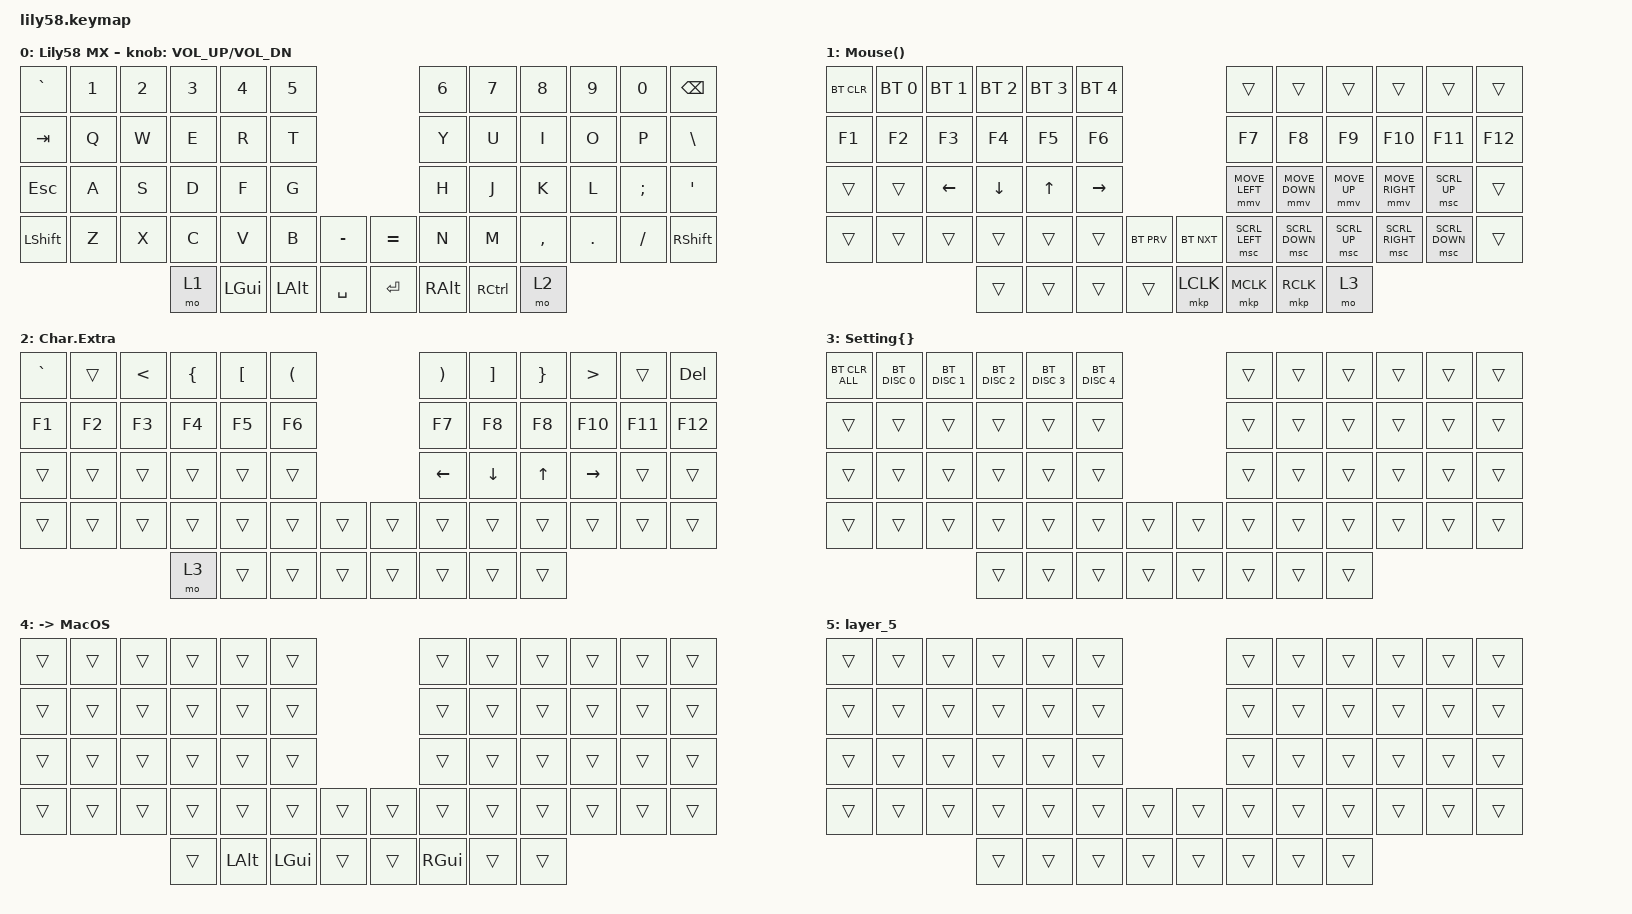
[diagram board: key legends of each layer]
/*
 * Copyright (c) 2020 The ZMK Contributors
 *
 * SPDX-License-Identifier: MIT
 */

#include <behaviors.dtsi>
#include <dt-bindings/zmk/bt.h>
#include <dt-bindings/zmk/keys.h>
#include <dt-bindings/zmk/pointing.h>

/ {
    combos { compatible = "zmk,combos"; };

    macros {
        Profile_MacOS: Profile_MacOS {
            compatible = "zmk,behavior-macro";
            #binding-cells = <0>;
            bindings = <&to 4 &bt BT_SEL 0>;
            label = "PROFILE_MACOS";
        };

        Profile_Linux: Profile_Linux {
            compatible = "zmk,behavior-macro";
            #binding-cells = <0>;
            bindings = <&to 0 &bt BT_SEL 2>;
            label = "PROFILE_LINUX";
        };

        Profile_surface: Profile_Windows {
            compatible = "zmk,behavior-macro";
            #binding-cells = <0>;
            bindings = <&to 0 &bt BT_SEL 1>;
            label = "PROFILE_WINDOWS";
        };
    };

    keymap {
        compatible = "zmk,keymap";

        default_layer {
            display-name = "Lily58 MX";
            bindings = <
&kp GRAVE   &kp N1  &kp N2  &kp N3  &kp N4        &kp N5                                &kp N6         &kp N7             &kp N8     &kp N9   &kp N0    &kp BACKSPACE
&kp TAB     &kp Q   &kp W   &kp E   &kp R         &kp T                                 &kp Y          &kp U              &kp I      &kp O    &kp P     &kp BACKSLASH
&kp ESCAPE  &kp A   &kp S   &kp D   &kp F         &kp G                                 &kp H          &kp J              &kp K      &kp L    &kp SEMI  &kp SQT
&kp LSHFT   &kp Z   &kp X   &kp C   &kp V         &kp B         &kp MINUS    &kp EQUAL  &kp N          &kp M              &kp COMMA  &kp DOT  &kp FSLH  &kp RSHFT
                            &mo 1   &kp LEFT_GUI  &kp LEFT_ALT  &kp SPACE    &kp RET    &kp RIGHT_ALT  &kp RIGHT_CONTROL  &mo 2
            >;

            sensor-bindings = <&inc_dec_kp C_VOL_UP C_VOL_DN>;
        };

        Menu_Mouse_layer {
            display-name = "Mouse()";
            bindings = <
&bt BT_CLR  &bt BT_SEL 0  &bt BT_SEL 1    &bt BT_SEL 2    &bt BT_SEL 3  &bt BT_SEL 4                               &trans          &trans          &trans        &trans           &trans          &trans
&kp F1      &kp F2        &kp F3          &kp F4          &kp F5        &kp F6                                     &kp F7          &kp F8          &kp F9        &kp F10          &kp F11         &kp F12
&trans      &trans        &kp LEFT_ARROW  &kp DOWN_ARROW  &kp UP_ARROW  &kp RIGHT_ARROW                            &mmv MOVE_LEFT  &mmv MOVE_DOWN  &mmv MOVE_UP  &mmv MOVE_RIGHT  &msc SCRL_UP    &trans
&trans      &trans        &trans          &trans          &trans        &trans           &bt BT_PRV    &bt BT_NXT  &msc SCRL_LEFT  &msc SCRL_DOWN  &msc SCRL_UP  &msc SCRL_RIGHT  &msc SCRL_DOWN  &trans
                                          &trans          &trans        &trans           &trans        &mkp LCLK   &mkp MCLK       &mkp RCLK       &mo 3
            >;
        };

        Special_Character_layer {
            display-name = "Char.Extra";
            bindings = <
&kp GRAVE  &trans  &kp LESS_THAN  &kp LEFT_BRACE  &kp LEFT_BRACKET  &kp LEFT_PARENTHESIS                    &kp RIGHT_PARENTHESIS  &kp RIGHT_BRACKET  &kp RIGHT_BRACE  &kp GREATER_THAN  &trans   &kp DELETE
&kp F1     &kp F2  &kp F3         &kp F4          &kp F5            &kp F6                                  &kp F7                 &kp F8             &kp F8           &kp F10           &kp F11  &kp F12
&trans     &trans  &trans         &trans          &trans            &trans                                  &kp LEFT_ARROW         &kp DOWN_ARROW     &kp UP_ARROW     &kp RIGHT_ARROW   &trans   &trans
&trans     &trans  &trans         &trans          &trans            &trans                &trans    &trans  &trans                 &trans             &trans           &trans            &trans   &trans
                                  &mo 3           &trans            &trans                &trans    &trans  &trans                 &trans             &trans
            >;
        };

        Power_Menu_layer {
            display-name = "Setting{}";
            bindings = <
&bt BT_CLR_ALL  &bt BT_DISC 0  &bt BT_DISC 1  &bt BT_DISC 2  &bt BT_DISC 3  &bt BT_DISC 4                    &trans  &trans  &trans  &trans  &trans  &trans
&trans          &trans         &trans         &trans         &trans         &trans                           &trans  &trans  &trans  &trans  &trans  &trans
&trans          &trans         &trans         &trans         &trans         &trans                           &trans  &trans  &trans  &trans  &trans  &trans
&trans          &trans         &trans         &trans         &trans         &trans         &trans    &trans  &trans  &trans  &trans  &trans  &trans  &trans
                                              &trans         &trans         &trans         &trans    &trans  &trans  &trans  &trans
            >;
        };

        MacOS_layper {
            display-name = "-> MacOS";
            bindings = <
&trans  &trans  &trans  &trans  &trans        &trans                          &trans         &trans  &trans  &trans  &trans  &trans
&trans  &trans  &trans  &trans  &trans        &trans                          &trans         &trans  &trans  &trans  &trans  &trans
&trans  &trans  &trans  &trans  &trans        &trans                          &trans         &trans  &trans  &trans  &trans  &trans
&trans  &trans  &trans  &trans  &trans        &trans        &trans    &trans  &trans         &trans  &trans  &trans  &trans  &trans
                        &trans  &kp LEFT_ALT  &kp LEFT_GUI  &trans    &trans  &kp RIGHT_GUI  &trans  &trans
            >;
        };

        layer_5 {
            bindings = <
&trans  &trans  &trans  &trans  &trans  &trans                    &trans  &trans  &trans  &trans  &trans  &trans
&trans  &trans  &trans  &trans  &trans  &trans                    &trans  &trans  &trans  &trans  &trans  &trans
&trans  &trans  &trans  &trans  &trans  &trans                    &trans  &trans  &trans  &trans  &trans  &trans
&trans  &trans  &trans  &trans  &trans  &trans  &trans    &trans  &trans  &trans  &trans  &trans  &trans  &trans
                        &trans  &trans  &trans  &trans    &trans  &trans  &trans  &trans
            >;
        };
    };
};
